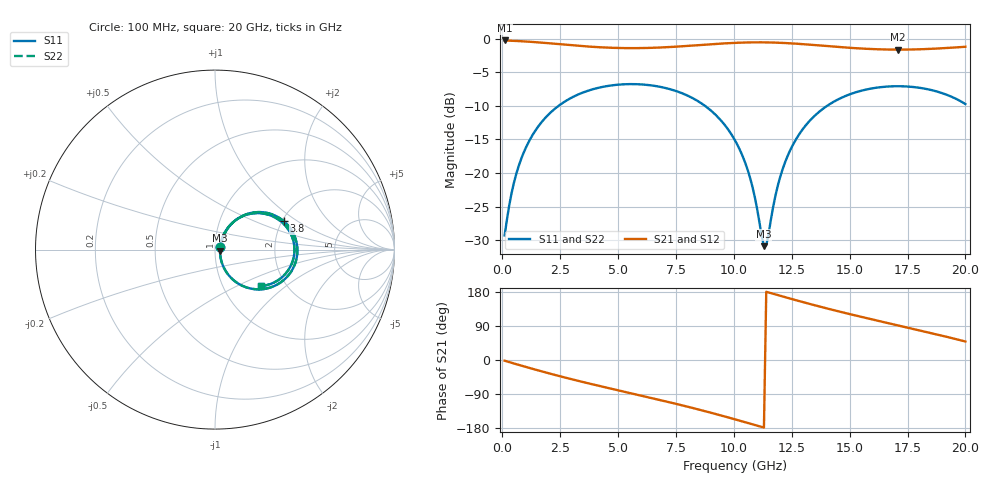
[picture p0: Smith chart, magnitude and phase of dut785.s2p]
! Touchstone file exported from HFSS 2026.1.0
!  File:  C:/ffzhzh/LocalFiles/Ansys_Project_Files/temp_train_TSV_RDL_785_1783211242_51560.aedt
!  Generated:  08:40:00 AM Jul  5, 2026
!  Design:  TSV_RDL
!  Project:  temp_train_TSV_RDL_785_1783211242_51560
! Variables:
!  h_bsmrdl = 2.06um
!  h_ox = 20um
!  h_rdl = 5um
!  h_sub = 72.77um
!  h_tmrdl = 5.2um
!  h_tsv = 72.77um
!  h_via = 3um
!  l_bsmrdl = 513.92um
!  l_sub = 5462.34um
!  l_tmrdl = 852.56um
!  m_sub = 200um
!  pitch = 34.72um
!  r_tsv = 4.4um
!  s_tmrdl = 10um
!  w_bsmrdl = 19.31um
!  w_sub = 500um
!  w_tmrdl = 17.47um
!  x_tsv_center1 = 861.295um
!  x_tsv_center2 = 1394.525um
!  x_tsv_center3 = 2264.555um
!  x_tsv_center4 = 2797.785um
!  x_tsv_center5 = 3667.815um
!  x_tsv_center6 = 4201.045um
# GHz S MA R 50.000000
! Terminal data exported
! Port[1] = TM_RDL1_1_T1
! Port[2] = TM_RDL5_1_T1
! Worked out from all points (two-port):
!   200 points, 100 MHz to 20 GHz, reference 50 ohm
!   highest |S21| = -0.27 dB at 100 MHz (marker M1); lowest = -1.6 dB at 17.1 GHz (marker M2)
!   |S21| within 3 dB of the highest: start of sweep to end of sweep
!   lowest |S11| = -30.9 dB at 11.3 GHz (marker M3), VSWR 1.06, Z = 52.9 - j0.678 ohm
!   |S11| at or under -10 dB: start of sweep to 2.43 GHz; 8.753 GHz to 14.03 GHz (5.274 GHz wide, 46.3 % of centre)
!   |S22| runs from -30.9 to -6.8 dB; largest |S21 - S12| = 2.2e-14
!   S11 on the Smith chart (normalised r, x): 100 MHz: 1.06, +0.03; 3.8 GHz: 2.04, +0.78; 20 GHz: 1.50, -0.68
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0.1  0.03431 27.2  0.9699 -1.9  0.9699 -1.9  0.03431 27.2
! Gamma 0 0 0 0
! Port Impedance 50 0 50 0
0.3  0.05751 50.7  0.9669 -5.6  0.9669 -5.6  0.05751 50.7
0.6  0.09798 58.8  0.9617 -11.0  0.9617 -11.0  0.09798 58.8
1.2  0.1782 56.8  0.9482 -21.5  0.9482 -21.5  0.1782 56.8
2.2  0.2939 44.5  0.9182 -38.2  0.9182 -38.2  0.2939 44.5
3.5  0.3984 26.5  0.8789 -58.4  0.8789 -58.4  0.3983 26.5
3.8  0.4149 22.4  0.8716 -62.8  0.8716 -62.8  0.4149 22.4
5.3  0.458 2.4  0.8508 -84.2  0.8508 -84.2  0.458 2.4
6.8  0.4386 -17.4  0.8592 -105.4  0.8592 -105.4  0.4386 -17.4
8.7  0.3211 -43.5  0.9008 -134.1  0.9008 -134.1  0.3211 -43.5
10.1  0.1688 -61.4  0.9315 -157.4  0.9315 -157.4  0.1687 -61.4
10.7  0.09223 -63.3  0.9381 -167.8  0.9381 -167.8  0.09217 -63.3
11.3  0.02855 -13.0  0.9388 -178.3  0.9388 -178.3  0.02848 -12.9
11.4  0.029 12.9  0.9383 179.9  0.9383 179.9  0.02896 13.0
11.8  0.06828 56.4  0.9345 172.9  0.9345 172.9  0.0683 56.5
12.2  0.1186 60.3  0.9283 166.0  0.9283 166.0  0.1186 60.3
13.4  0.2576 48.4  0.8989 145.9  0.8989 145.9  0.2577 48.4
14.9  0.3792 28.2  0.8574 122.7  0.8574 122.7  0.3792 28.2
16.7  0.4409 4.6  0.83 96.9  0.83 96.9  0.441 4.6
17.1  0.4428 -0.6  0.8289 91.2  0.8289 91.2  0.4428 -0.6
18.6  0.4117 -20.0  0.8414 69.9  0.8414 69.9  0.4118 -20.0
20  0.3263 -38.5  0.8705 48.8  0.8705 48.8  0.3263 -38.5
